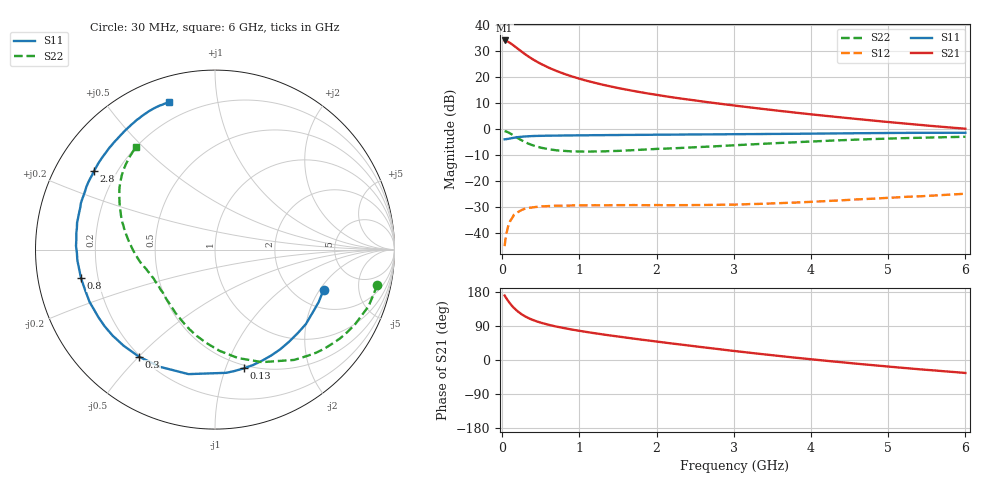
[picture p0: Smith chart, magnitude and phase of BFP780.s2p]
! Infineon Technologies Discrete & RF Semiconductors
! BFP780
! VCE =  5.0 V,  IC =  25 mA
! Common Emitter S-Parameters: Jul 2015
# GHz  S  MA  R  50
!  f  S11  S21  S12  S22
! GHz  MAG  ANG  MAG  ANG  MAG  ANG  MAG  ANG
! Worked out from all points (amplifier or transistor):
!   75 points, 30 MHz to 6 GHz, reference 50 ohm
!   highest |S21| = 34.2 dB at 30 MHz (marker M1)
!   |S21| within 3 dB of that: start of sweep to 193.1 MHz
!   unconditionally stable (mu >= 1): 2.195 GHz to end of sweep
!   at 150 MHz: K = 0.16, MSG = 32.5 dB, |S12| = -32.8 dB
!   at 2.3 GHz: K = 1.04, MAG = 19.3 dB, |S12| = -29.1 dB
!   at 6 GHz: K = 1.24, MAG = 9.5 dB, |S12| = -24.7 dB
!   S11 on the Smith chart (normalised r, x): 30 MHz: 2.84, -2.17; 130 MHz: 0.47, -1.16; 300 MHz: 0.19, -0.50; 800 MHz: 0.14, -0.10; 2.8 GHz: 0.12, +0.29; 6 GHz: 0.12, +0.73
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0.03  0.6452 -20.2  51.09 170.2  0.0057 69.4  0.9254 -12.2
0.05  0.6474 -33.0  50.11 163.7  0.0096 70.7  0.9119 -20.2
0.08  0.6587 -51.3  47.76 154.8  0.0144 59.7  0.8697 -31.7
0.11  0.6724 -67.1  44.72 146.8  0.0181 55.2  0.8217 -42.3
0.13  0.6809 -76.4  42.65 142.0  0.0202 51.3  0.7879 -48.4
0.15  0.6893 -84.8  40.54 137.6  0.0228 47.9  0.756 -54.4
0.2  0.7093 -102.0  35.52 128.3  0.0256 41.0  0.6797 -67.3
0.25  0.7214 -115.1  31.19 120.7  0.0282 35.1  0.6172 -78.1
0.3  0.7317 -125.4  27.51 114.6  0.0302 30.7  0.5647 -87.4
0.35  0.7389 -133.5  24.48 109.5  0.0311 27.0  0.5227 -95.2
0.4  0.745 -140.0  21.97 105.3  0.0318 24.5  0.4913 -102.0
0.5  0.7511 -150.0  18.14 98.4  0.0331 20.2  0.4449 -113.0
0.6  0.7572 -157.4  15.37 92.9  0.0336 17.5  0.4162 -121.9
0.8  0.7633 -167.9  11.69 84.2  0.0342 14.1  0.3859 -134.9
1.1  0.7696 -178.7  8.539 73.7  0.0347 11.2  0.3734 -148.3
1.5  0.7786 171.2  6.234 62.0  0.035 10.0  0.3858 -159.7
2.1  0.7915 159.1  4.356 46.1  0.0349 10.0  0.4256 -171.5
2.8  0.8039 147.0  3.136 28.8  0.0355 12.5  0.4765 175.7
3.1  0.8098 142.2  2.761 21.6  0.0361 14.2  0.5033 170.1
4.1  0.8302 127.5  1.878 -0.1  0.0412 18.3  0.593 153.8
5.1  0.8541 115.7  1.343 -19.1  0.0492 18.0  0.6714 139.8
6  0.8605 107.2  1.028 -34.2  0.058 14.8  0.7209 127.6
